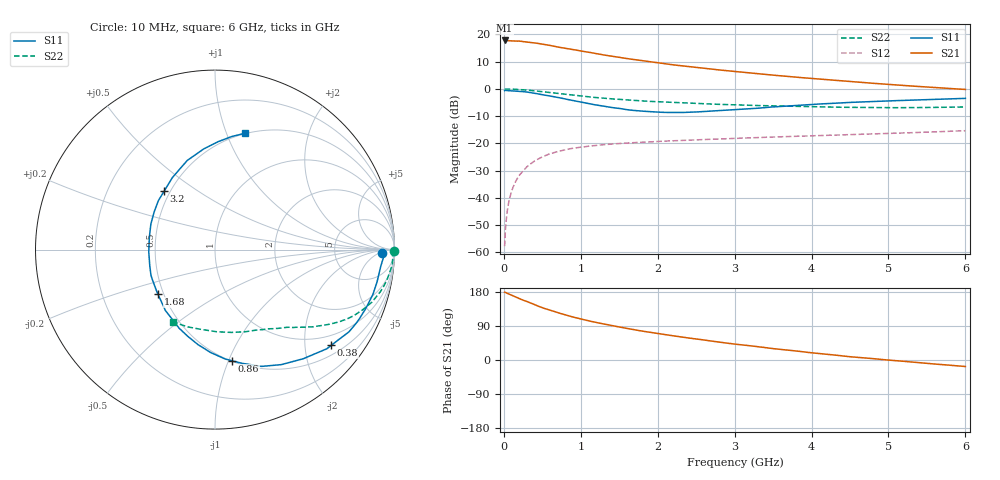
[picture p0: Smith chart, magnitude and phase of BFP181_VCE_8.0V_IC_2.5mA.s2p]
! Infineon Technologies  Discrete & RF Semiconductors
! BFP181
! VCE = 8.0 V,  IC =  2.5 mA
! Common Emitter S-Parameters:  Jan 2016
# GHz  S  MA  R  50
!  f  S11  S21  S12  S22
! GHz  MAG  ANG  MAG  ANG  MAG  ANG  MAG  ANG
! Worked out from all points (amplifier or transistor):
!   210 points, 10 MHz to 6 GHz, reference 50 ohm
!   highest |S21| = 17.8 dB at 10 MHz (marker M1)
!   |S21| within 3 dB of that: start of sweep to 834.7 MHz
!   unconditionally stable (mu >= 1): 2.394 GHz to end of sweep
!   at 185 MHz: K = 0.12, MSG = 25.0 dB, |S12| = -32.4 dB
!   at 1.52 GHz: K = 0.72, MSG = 15.8 dB, |S12| = -20.0 dB
!   at 6 GHz: K = 1.13, MAG = 5.4 dB, |S12| = -15.4 dB
!   S11 on the Smith chart (normalised r, x): 10 MHz: 25, -7; 380 MHz: 0.72, -2.61; 860 MHz: 0.51, -1.03; 1.68 GHz: 0.47, -0.27; 3.2 GHz: 0.46, +0.37; 6 GHz: 0.50, +1.16
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0.01  0.9284 -1.1  7.73 178.9  0.0013 82.1  0.9947 -0.5
0.025  0.9388 -2.8  7.697 177.9  0.0032 87.5  0.9897 -1.2
0.04  0.9329 -4.2  7.679 176.4  0.0052 86.7  0.9909 -2.0
0.1  0.9216 -10.8  7.588 171.1  0.0131 83.6  0.991 -5.0
0.2  0.9018 -21.4  7.526 162.2  0.0258 77.1  0.9737 -9.8
0.26  0.8869 -27.6  7.348 157.1  0.0323 73.9  0.9601 -12.6
0.38  0.839 -39.5  7.022 147.4  0.0454 66.7  0.9267 -17.7
0.5  0.7823 -51.0  6.624 137.9  0.0565 60.1  0.8881 -22.2
0.6  0.7399 -60.0  6.277 131.3  0.0646 55.9  0.8554 -25.6
0.7  0.7008 -68.2  5.862 125.0  0.0708 52.1  0.8226 -28.4
0.86  0.6264 -81.3  5.396 115.6  0.0796 46.8  0.7755 -32.0
1.02  0.5653 -94.0  4.905 107.3  0.0856 42.4  0.7319 -35.3
1.3  0.4816 -114.5  4.184 94.9  0.0948 36.5  0.6736 -39.8
1.5  0.438 -129.0  3.792 87.0  0.0994 33.5  0.6407 -42.4
1.68  0.4032 -142.2  3.469 80.5  0.103 31.4  0.6167 -44.7
2.02  0.3735 -166.9  2.983 69.3  0.1088 28.2  0.579 -48.7
2.4  0.3722 169.3  2.567 58.1  0.1145 25.5  0.5472 -53.6
3.1  0.4231 135.1  2.019 39.9  0.1245 21.8  0.5027 -63.3
3.2  0.4312 131.2  1.955 37.6  0.1261 21.3  0.4985 -64.8
4.1  0.5274 105.0  1.512 17.1  0.1389 17.1  0.4671 -80.6
5.1  0.608 86.9  1.18 -1.8  0.1531 13.6  0.4513 -100.9
6  0.6692 75.6  0.976 -17.2  0.1708 10.2  0.4664 -120.2
